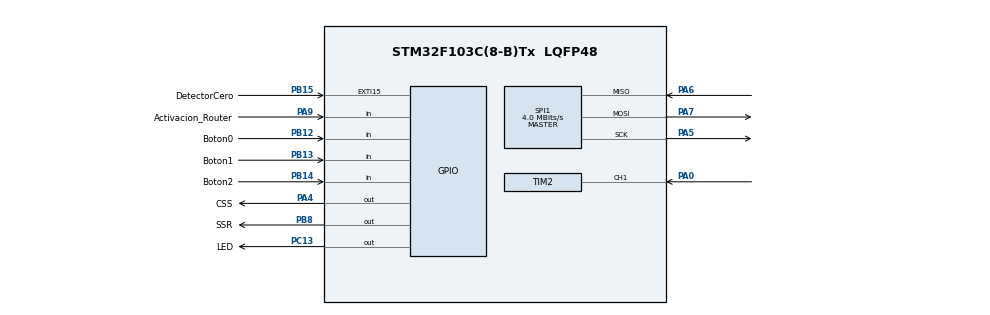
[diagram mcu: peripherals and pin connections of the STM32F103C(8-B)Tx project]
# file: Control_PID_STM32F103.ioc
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Mcu.Family=STM32F1
PA6.Mode=Full_Duplex_Master
TIM2.Channel-Input_Capture1_from_TI1=TIM_CHANNEL_1
PA7.Mode=Full_Duplex_Master
PD1-OSC_OUT.Mode=HSE-External-Oscillator
SPI1.VirtualType=VM_MASTER
PA9.GPIO_Label=Activacion_Router
PB14.GPIO_Label=Boton2
PC13-TAMPER-RTC.Signal=GPIO_Output
PD0-OSC_IN.Signal=RCC_OSC_IN
PB13.GPIO_Label=Boton1
PB13.Signal=GPIO_Input
PB15.Signal=GPXTI15
ProjectManager.StackSize=0x400
PA0-WKUP.Signal=S_TIM2_CH1_ETR
PD1-OSC_OUT.Signal=RCC_OSC_OUT
PA13.Signal=SYS_JTMS-SWDIO
TIM1.AutoReloadPreload=TIM_AUTORELOAD_PRELOAD_ENABLE
PB8.GPIO_Label=SSR
TIM1.Prescaler=80-1
PA4.PinState=GPIO_PIN_SET
ProjectManager.TargetToolchain=STM32CubeIDE
SPI1.Direction=SPI_DIRECTION_2LINES
PA9.Signal=GPIO_Input
SPI1.CalculateBaudRate=4.0 MBits/s
PD0-OSC_IN.Mode=HSE-External-Oscillator
NVIC.EXTI15_10_IRQn=true\:0\:0\:false\:false\:true\:true\:true
PB14.Signal=GPIO_Input
PA5.Signal=SPI1_SCK
PB15.GPIO_ModeDefaultEXTI=GPIO_MODE_IT_RISING
PA4.GPIO_PuPd=GPIO_NOPULL
board=custom
PC13-TAMPER-RTC.GPIO_Label=LED
PA4.GPIO_Speed=GPIO_SPEED_FREQ_LOW
PB12.GPIO_Label=Boton0
PB13.GPIO_PuPd=GPIO_PULLUP
RCC.APB2Freq_Value=8000000
PC13-TAMPER-RTC.PinState=GPIO_PIN_SET
PB15.GPIO_Label=DetectorCero
VP_TIM2_VS_ClockSourceINT.Mode=Internal
SPI1.Mode=SPI_MODE_MASTER
PA14.Mode=Serial_Wire
NVIC.TIM2_IRQn=true\:0\:0\:false\:false\:true\:true\:true
TIM2.Period=0xFFFF
PC13-TAMPER-RTC.GPIO_Speed=GPIO_SPEED_FREQ_LOW
PA13.Mode=Serial_Wire
Mcu.Name=STM32F103C(8-B)Tx
VP_TIM1_VS_ClockSourceINT.Mode=Internal
PA4.Signal=GPIO_Output
Mcu.Package=LQFP48
PA6.Signal=SPI1_MISO
PB14.GPIO_PuPd=GPIO_PULLUP
SH.S_TIM2_CH1_ETR.0=TIM2_CH1,Input_Capture1_from_TI1
PA14.Signal=SYS_JTCK-SWCLK
ProjectManager.HeapSize=0x200
NVIC.PriorityGroup=NVIC_PRIORITYGROUP_4
PB8.Signal=GPIO_Output
TIM1.Period=0xffff
PB12.GPIO_PuPd=GPIO_PULLUP
RCC.APB1Freq_Value=8000000
PB8.GPIO_Speed=GPIO_SPEED_FREQ_HIGH
PA4.GPIO_Label=CSS
PB12.Signal=GPIO_Input
PA5.Mode=Full_Duplex_Master
PA7.Signal=SPI1_MOSI

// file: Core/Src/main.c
/* USER CODE BEGIN Header */
/**
  ******************************************************************************
  * @file           : main.c
  * @brief          : Main program body
  ******************************************************************************
  * @attention
  *
  * <h2><center>&copy; Copyright (c) 2020 STMicroelectronics.
  * All rights reserved.</center></h2>
  *
  * This software component is licensed by ST under BSD 3-Clause license,
  * the "License"; You may not use this file except in compliance with the
  * License. You may obtain a copy of the License at:
  *                        opensource.org/licenses/BSD-3-Clause
  *
  ******************************************************************************
  */
/* USER CODE END Header */
#include "main.h"

/* USER CODE BEGIN Includes */
#include "../../Aplicaciones/app_Debounce.h"
#include "../../Aplicaciones/app_Delay.h"
#include "../../Aplicaciones/app_MAX7219.h"
#include "../../Aplicaciones/app_DigitalDimmer.h"
#include "../../Aplicaciones/Variables.h"
/* USER CODE END Includes */

/* USER CODE BEGIN PD */
#define uint8_t bool
/* USER CODE END PD */

SPI_HandleTypeDef hspi1;

TIM_HandleTypeDef htim1;
TIM_HandleTypeDef htim2;

/* USER CODE BEGIN PV */

void HAL_GPIO_EXTI_Callback(uint16_t GPIO_pin) {
	if (GPIO_pin == DetectorCero_Pin) {
		Bandera_DetectorCero = 0;
	} else {
		/* No realiza ninguna funcion */
	}
}

void HAL_TIM_IC_CaptureCallback(TIM_HandleTypeDef *htim) {
	/* Si la interrupcion se encuentra en el canal 1 */
	if (htim->Channel == HAL_TIM_ACTIVE_CHANNEL_1) {
		/* Bandera que determina el estado de la interrupcion */
		if (Primer_valor == 0) {
			/* Se realiza la captura del primer valor */
			Valor1 = HAL_TIM_ReadCapturedValue(htim, TIM_CHANNEL_1);
			Primer_valor = 1;  // set the first value captured as true
		}
		/* Bandera que determina el estado de la interrupcion para el segundo valor*/
		else if (Primer_valor) {
			/* Se realiza la captura del segundo valor */
			Valor2 = HAL_TIM_ReadCapturedValue(htim, TIM_CHANNEL_1);

			if (Valor2 > Valor1) {
				/* Capturados previamente los valores, se realiza a calcular la diferencia de ambos */
				Diferencia = Valor2 - Valor1;
			}

			else if (Valor2 < Valor1) {
				Diferencia = ((0xffff - Valor1) + Valor2) + 1;
			}

			else {
				Error_Handler();
			}

			/* Se realiza el calculo de la frecuencia en base al reloj usado por el microcontrolador
			 * este calculo es importante para tener una referencia de lo mas confiable posible y
			 * obtener las mejores lecturas en el microcontrolador */
			Frecuencia_final = (2 * HAL_RCC_GetPCLK2Freq()) / Diferencia;
			/* La bandera cambia de estado, y se vuelve a comenzar el conteo de la frecuencia */
			Primer_valor = 0;
		}
	}
}

/* USER CODE END PV */

void SystemClock_Config(void);
static void MX_GPIO_Init(void);
static void MX_TIM1_Init(void);
static void MX_SPI1_Init(void);
static void MX_TIM2_Init(void);

int main(void)
{

  /* MCU Configuration--------------------------------------------------------*/

  /* Reset of all peripherals, Initializes the Flash interface and the Systick. */
  HAL_Init();

  /* Configure the system clock */
  SystemClock_Config();

  /* Initialize all configured peripherals */
  MX_GPIO_Init();
  MX_TIM1_Init();
  MX_SPI1_Init();
  MX_TIM2_Init();
  /* USER CODE BEGIN 2 */
  __HAL_SPI_ENABLE(&hspi1);
  HAL_TIM_Base_Start_IT(&htim1);
  HAL_TIM_IC_Start(&htim2, TIM_CHANNEL_1);
  HAL_TIM_Base_Start_IT(&htim2);
  app_InitMAX7219();
  app_LimpiarDisplays();
  /* USER CODE END 2 */

  /* Infinite loop */
  /* USER CODE BEGIN WHILE */
  /* Se manda la direccion del Boton */

  while (1)
  {

	  //
	  //app_Dimmer();
	  app_PIDDimmer(Frecuencia_final);

	  //app_Dimmer_Prueba();
    /* USER CODE END WHILE */

  }
}

void SystemClock_Config(void)
{
  RCC_OscInitTypeDef RCC_OscInitStruct = {0};
  RCC_ClkInitTypeDef RCC_ClkInitStruct = {0};

  /** Initializes the RCC Oscillators according to the specified parameters
  * in the RCC_OscInitTypeDef structure.
  */
  RCC_OscInitStruct.OscillatorType = RCC_OSCILLATORTYPE_HSI;
  RCC_OscInitStruct.HSIState = RCC_HSI_ON;
  RCC_OscInitStruct.HSICalibrationValue = RCC_HSICALIBRATION_DEFAULT;
  RCC_OscInitStruct.PLL.PLLState = RCC_PLL_NONE;
  if (HAL_RCC_OscConfig(&RCC_OscInitStruct) != HAL_OK)
  {
    Error_Handler();
  }
  /** Initializes the CPU, AHB and APB buses clocks
  */
  RCC_ClkInitStruct.ClockType = RCC_CLOCKTYPE_HCLK|RCC_CLOCKTYPE_SYSCLK
                              |RCC_CLOCKTYPE_PCLK1|RCC_CLOCKTYPE_PCLK2;
  RCC_ClkInitStruct.SYSCLKSource = RCC_SYSCLKSOURCE_HSI;
  RCC_ClkInitStruct.AHBCLKDivider = RCC_SYSCLK_DIV1;
  RCC_ClkInitStruct.APB1CLKDivider = RCC_HCLK_DIV1;
  RCC_ClkInitStruct.APB2CLKDivider = RCC_HCLK_DIV1;

  if (HAL_RCC_ClockConfig(&RCC_ClkInitStruct, FLASH_LATENCY_0) != HAL_OK)
  {
    Error_Handler();
  }
}

static void MX_SPI1_Init(void)
{

  /* SPI1 parameter configuration*/
  hspi1.Instance = SPI1;
  hspi1.Init.Mode = SPI_MODE_MASTER;
  hspi1.Init.Direction = SPI_DIRECTION_2LINES;
  hspi1.Init.DataSize = SPI_DATASIZE_8BIT;
  hspi1.Init.CLKPolarity = SPI_POLARITY_LOW;
  hspi1.Init.CLKPhase = SPI_PHASE_1EDGE;
  hspi1.Init.NSS = SPI_NSS_SOFT;
  hspi1.Init.BaudRatePrescaler = SPI_BAUDRATEPRESCALER_2;
  hspi1.Init.FirstBit = SPI_FIRSTBIT_MSB;
  hspi1.Init.TIMode = SPI_TIMODE_DISABLE;
  hspi1.Init.CRCCalculation = SPI_CRCCALCULATION_DISABLE;
  hspi1.Init.CRCPolynomial = 10;
  if (HAL_SPI_Init(&hspi1) != HAL_OK)
  {
    Error_Handler();
  }

}

static void MX_TIM1_Init(void)
{

  TIM_ClockConfigTypeDef sClockSourceConfig = {0};
  TIM_MasterConfigTypeDef sMasterConfig = {0};

  htim1.Instance = TIM1;
  htim1.Init.Prescaler = 80-1;
  htim1.Init.CounterMode = TIM_COUNTERMODE_UP;
  htim1.Init.Period = 0xffff;
  htim1.Init.ClockDivision = TIM_CLOCKDIVISION_DIV1;
  htim1.Init.RepetitionCounter = 0;
  htim1.Init.AutoReloadPreload = TIM_AUTORELOAD_PRELOAD_ENABLE;
  if (HAL_TIM_Base_Init(&htim1) != HAL_OK)
  {
    Error_Handler();
  }
  sClockSourceConfig.ClockSource = TIM_CLOCKSOURCE_INTERNAL;
  if (HAL_TIM_ConfigClockSource(&htim1, &sClockSourceConfig) != HAL_OK)
  {
    Error_Handler();
  }
  sMasterConfig.MasterOutputTrigger = TIM_TRGO_RESET;
  sMasterConfig.MasterSlaveMode = TIM_MASTERSLAVEMODE_DISABLE;
  if (HAL_TIMEx_MasterConfigSynchronization(&htim1, &sMasterConfig) != HAL_OK)
  {
    Error_Handler();
  }

}

static void MX_TIM2_Init(void)
{

  TIM_ClockConfigTypeDef sClockSourceConfig = {0};
  TIM_MasterConfigTypeDef sMasterConfig = {0};
  TIM_IC_InitTypeDef sConfigIC = {0};

  htim2.Instance = TIM2;
  htim2.Init.Prescaler = 0;
  htim2.Init.CounterMode = TIM_COUNTERMODE_UP;
  htim2.Init.Period = 0xFFFF;
  htim2.Init.ClockDivision = TIM_CLOCKDIVISION_DIV1;
  htim2.Init.AutoReloadPreload = TIM_AUTORELOAD_PRELOAD_DISABLE;
  if (HAL_TIM_Base_Init(&htim2) != HAL_OK)
  {
    Error_Handler();
  }
  sClockSourceConfig.ClockSource = TIM_CLOCKSOURCE_INTERNAL;
  if (HAL_TIM_ConfigClockSource(&htim2, &sClockSourceConfig) != HAL_OK)
  {
    Error_Handler();
  }
  if (HAL_TIM_IC_Init(&htim2) != HAL_OK)
  {
    Error_Handler();
  }
  sMasterConfig.MasterOutputTrigger = TIM_TRGO_RESET;
  sMasterConfig.MasterSlaveMode = TIM_MASTERSLAVEMODE_DISABLE;
  if (HAL_TIMEx_MasterConfigSynchronization(&htim2, &sMasterConfig) != HAL_OK)
  {
    Error_Handler();
  }
  sConfigIC.ICPolarity = TIM_INPUTCHANNELPOLARITY_RISING;
  sConfigIC.ICSelection = TIM_ICSELECTION_DIRECTTI;
  sConfigIC.ICPrescaler = TIM_ICPSC_DIV1;
  sConfigIC.ICFilter = 0;
  if (HAL_TIM_IC_ConfigChannel(&htim2, &sConfigIC, TIM_CHANNEL_1) != HAL_OK)
  {
    Error_Handler();
  }

}

static void MX_GPIO_Init(void)
{
  GPIO_InitTypeDef GPIO_InitStruct = {0};

  /* GPIO Ports Clock Enable */
  __HAL_RCC_GPIOC_CLK_ENABLE();
  __HAL_RCC_GPIOD_CLK_ENABLE();
  __HAL_RCC_GPIOA_CLK_ENABLE();
  __HAL_RCC_GPIOB_CLK_ENABLE();

  /*Configure GPIO pin Output Level */
  HAL_GPIO_WritePin(LED_GPIO_Port, LED_Pin, GPIO_PIN_SET);

  /*Configure GPIO pin Output Level */
  HAL_GPIO_WritePin(CSS_GPIO_Port, CSS_Pin, GPIO_PIN_SET);

  /*Configure GPIO pin Output Level */
  HAL_GPIO_WritePin(SSR_GPIO_Port, SSR_Pin, GPIO_PIN_RESET);

  /*Configure GPIO pin : LED_Pin */
  GPIO_InitStruct.Pin = LED_Pin;
  GPIO_InitStruct.Mode = GPIO_MODE_OUTPUT_PP;
  GPIO_InitStruct.Pull = GPIO_NOPULL;
  GPIO_InitStruct.Speed = GPIO_SPEED_FREQ_LOW;
  HAL_GPIO_Init(LED_GPIO_Port, &GPIO_InitStruct);

  /*Configure GPIO pin : CSS_Pin */
  GPIO_InitStruct.Pin = CSS_Pin;
  GPIO_InitStruct.Mode = GPIO_MODE_OUTPUT_PP;
  GPIO_InitStruct.Pull = GPIO_NOPULL;
  GPIO_InitStruct.Speed = GPIO_SPEED_FREQ_LOW;
  HAL_GPIO_Init(CSS_GPIO_Port, &GPIO_InitStruct);

  /*Configure GPIO pins : Boton0_Pin Boton1_Pin Boton2_Pin */
  GPIO_InitStruct.Pin = Boton0_Pin|Boton1_Pin|Boton2_Pin;
  GPIO_InitStruct.Mode = GPIO_MODE_INPUT;
  GPIO_InitStruct.Pull = GPIO_PULLUP;
  HAL_GPIO_Init(GPIOB, &GPIO_InitStruct);

  /*Configure GPIO pin : DetectorCero_Pin */
  GPIO_InitStruct.Pin = DetectorCero_Pin;
  GPIO_InitStruct.Mode = GPIO_MODE_IT_RISING;
  GPIO_InitStruct.Pull = GPIO_NOPULL;
  HAL_GPIO_Init(DetectorCero_GPIO_Port, &GPIO_InitStruct);

  /*Configure GPIO pin : Activacion_Router_Pin */
  GPIO_InitStruct.Pin = Activacion_Router_Pin;
  GPIO_InitStruct.Mode = GPIO_MODE_INPUT;
  GPIO_InitStruct.Pull = GPIO_NOPULL;
  HAL_GPIO_Init(Activacion_Router_GPIO_Port, &GPIO_InitStruct);

  /*Configure GPIO pin : SSR_Pin */
  GPIO_InitStruct.Pin = SSR_Pin;
  GPIO_InitStruct.Mode = GPIO_MODE_OUTPUT_PP;
  GPIO_InitStruct.Pull = GPIO_NOPULL;
  GPIO_InitStruct.Speed = GPIO_SPEED_FREQ_HIGH;
  HAL_GPIO_Init(SSR_GPIO_Port, &GPIO_InitStruct);

  /* EXTI interrupt init*/
  HAL_NVIC_SetPriority(EXTI15_10_IRQn, 0, 0);
  HAL_NVIC_EnableIRQ(EXTI15_10_IRQn);

}

void Error_Handler(void)
{
}

/************************ (C) COPYRIGHT STMicroelectronics *****END OF FILE****/
